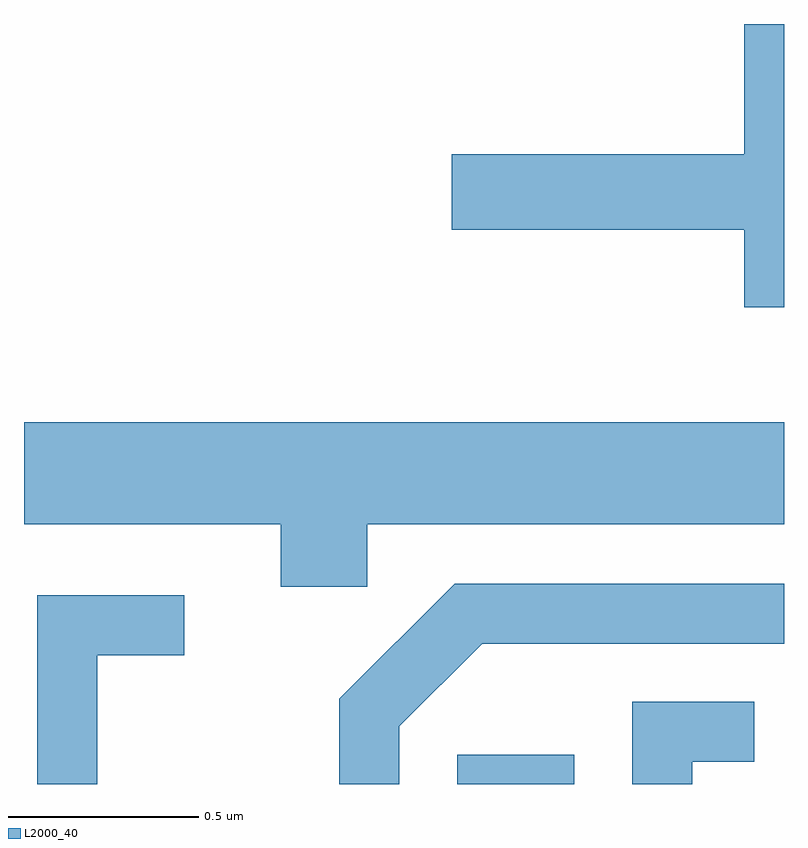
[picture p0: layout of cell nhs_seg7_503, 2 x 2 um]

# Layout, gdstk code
import gdstk
lib = gdstk.Library(unit=1e-6, precision=1e-09)
def R(c, l, rs):  # rectangles x0, y0, x1, y1
    for r in rs: c.add(gdstk.rectangle(r[:2], r[2:], *l))
def P(c, l, *ps):  # polygons
    for p in ps: c.add(gdstk.Polygon(p, *l))
L2000_40 = (2000, 40)

nhs_seg7_503 = lib.new_cell('nhs_seg7_503')
R(nhs_seg7_503, L2000_40, [(189.751,1760.252,190.059,1760.329)])
P(nhs_seg7_503, L2000_40, [(190.611,1762.252),(190.506,1762.252),(190.506,1761.909),(189.736,1761.909),(189.736,1761.711),(190.506,1761.711),(190.506,1761.506),(190.611,1761.506)],
  [(189.514,1760.936),(190.611,1760.936),(190.611,1761.204),(188.611,1761.204),(188.611,1760.936),(189.286,1760.936),(189.286,1760.771),(189.514,1760.771)],
  [(189.599,1760.404),(189.817,1760.621),(190.611,1760.621),(190.611,1760.779),(189.744,1760.779),(189.441,1760.477),(189.441,1760.252),(189.599,1760.252)],
  [(188.804,1760.591),(189.033,1760.591),(189.033,1760.749),(188.646,1760.749),(188.646,1760.252),(188.804,1760.252)],
  [(190.369,1760.311),(190.533,1760.311),(190.533,1760.469),(190.211,1760.469),(190.211,1760.252),(190.369,1760.252)])

lib.write_gds('nhs_seg7_503.gds')
